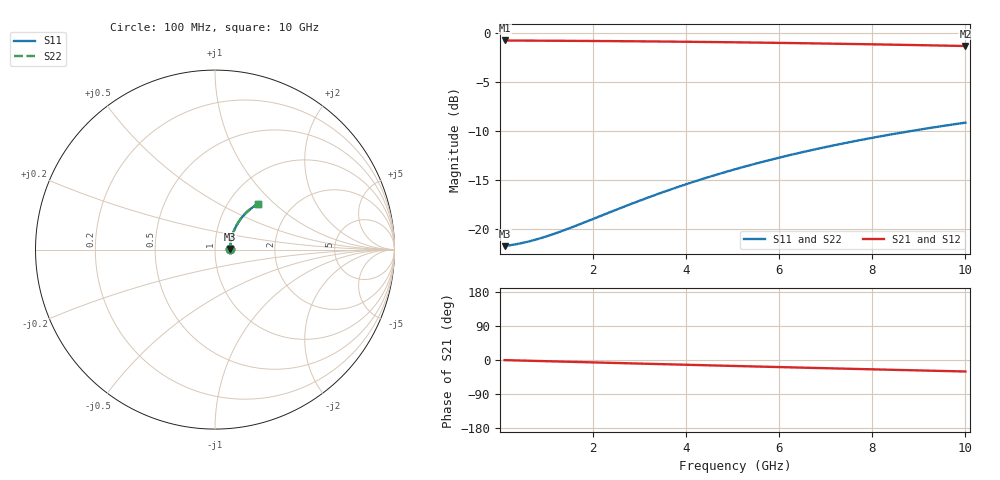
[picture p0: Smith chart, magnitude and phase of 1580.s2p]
# Hz S RI R 50.00
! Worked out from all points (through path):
!   100 points, 100 MHz to 10 GHz, reference 50 ohm
!   highest |S21| = -0.74 dB at 100 MHz (marker M1); lowest = -1.3 dB at 10 GHz (marker M2)
!   group delay of S21, straight-line fit = 8.44 ps
!   lowest |S11| = -21.7 dB at 100 MHz (marker M3), VSWR 1.18, Z = 58.9 + j0.39 ohm
!   |S11| at or under -10 dB: start of sweep to 8.814 GHz
!   |S22| runs from -21.7 to -9.1 dB; largest |S21 - S12| = 0
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1e8  0.0818 0.00329  0.9182 -0.00508  0.9182 -0.00508  0.0818 0.00329
3e8  0.0828 0.00984  0.9172 -0.0152  0.9172 -0.0152  0.0828 0.00984
5e8  0.0836 0.0164  0.9163 -0.0253  0.9163 -0.0253  0.0836 0.0164
7e8  0.0845 0.0229  0.9154 -0.0354  0.9154 -0.0354  0.0845 0.0229
9e8  0.0854 0.0294  0.9145 -0.0455  0.9145 -0.0455  0.0854 0.0294
1.1e9  0.0864 0.0358  0.9134 -0.0556  0.9134 -0.0556  0.0864 0.0358
1.3e9  0.0875 0.0423  0.9122 -0.0656  0.9122 -0.0656  0.0875 0.0423
1.8e9  0.0908 0.0582  0.9086 -0.0905  0.9086 -0.0905  0.0908 0.0582
2.7e9  0.0988 0.0863  0.9 -0.1347  0.9 -0.1347  0.0988 0.0863
3.4e9  0.1067 0.1073  0.8913 -0.1684  0.8913 -0.1684  0.1067 0.1073
3.8e9  0.1119 0.119  0.8856 -0.1873  0.8856 -0.1873  0.1119 0.119
4.2e9  0.1176 0.1305  0.8794 -0.2059  0.8794 -0.2059  0.1176 0.1305
4.6e9  0.1237 0.1416  0.8727 -0.2242  0.8727 -0.2242  0.1237 0.1416
5.1e9  0.132 0.155  0.8636 -0.2466  0.8636 -0.2466  0.132 0.155
5.5e9  0.1391 0.1654  0.8558 -0.2642  0.8558 -0.2642  0.1391 0.1654
5.9e9  0.1465 0.1753  0.8475 -0.2814  0.8475 -0.2814  0.1465 0.1753
6.3e9  0.1544 0.185  0.8389 -0.2982  0.8389 -0.2982  0.1544 0.185
6.7e9  0.1626 0.1942  0.8298 -0.3147  0.8298 -0.3147  0.1626 0.1942
7.5e9  0.1799 0.2113  0.8105 -0.3463  0.8105 -0.3463  0.1799 0.2113
8.4e9  0.2007 0.2286  0.7872 -0.38  0.7872 -0.38  0.2007 0.2286
9.2e9  0.2202 0.2421  0.7653 -0.408  0.7653 -0.408  0.2202 0.2421
1e10  0.2404 0.2538  0.7425 -0.4343  0.7425 -0.4343  0.2404 0.2538
